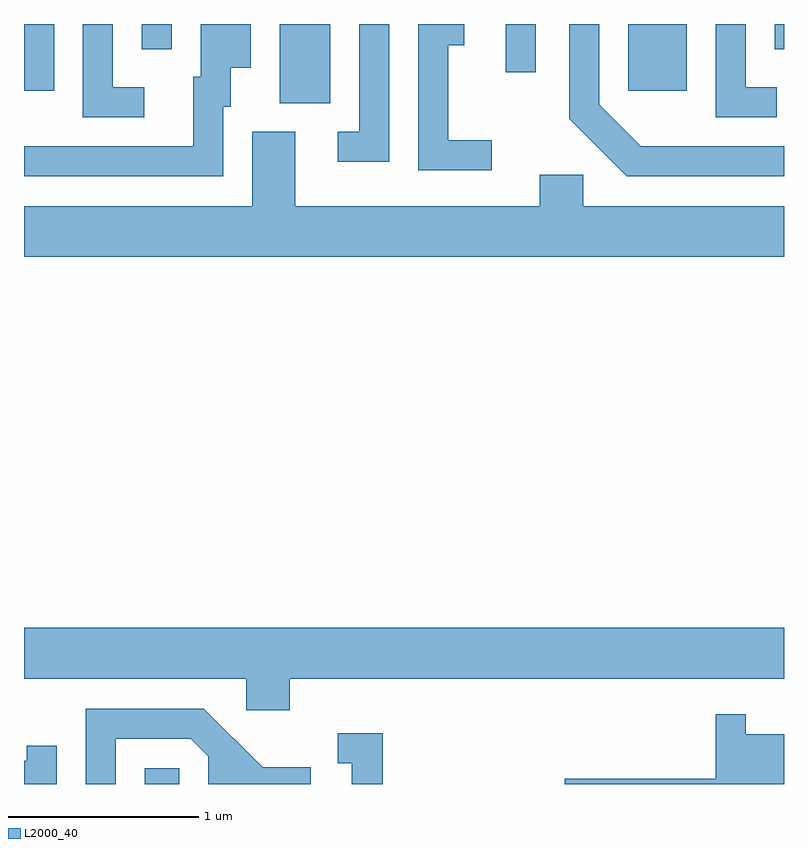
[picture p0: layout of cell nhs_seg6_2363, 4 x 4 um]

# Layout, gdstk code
import gdstk
lib = gdstk.Library(unit=1e-6, precision=1e-09)
def R(c, l, rs):  # rectangles x0, y0, x1, y1
    for r in rs: c.add(gdstk.rectangle(r[:2], r[2:], *l))
def P(c, l, *ps):  # polygons
    for p in ps: c.add(gdstk.Polygon(p, *l))
L2000_40 = (2000, 40)

nhs_seg6_2363 = lib.new_cell('nhs_seg6_2363')
R(nhs_seg6_2363, L2000_40, [(258.246,1536.162,258.429,1536.244), (258.956,1539.746,259.224,1540.162), (257.611,1539.811,257.769,1540.162), (260.791,1539.811,261.099,1540.162), (260.146,1539.908,260.304,1540.162), (258.231,1540.028,258.389,1540.162), (261.561,1540.028,261.611,1540.162)])
P(nhs_seg6_2363, L2000_40, [(258.243,1539.829),(258.079,1539.829),(258.079,1540.162),(257.921,1540.162),(257.921,1539.671),(258.243,1539.671)],
  [(260.073,1539.549),(259.844,1539.549),(259.844,1540.051),(259.929,1540.051),(259.929,1540.162),(259.686,1540.162),(259.686,1539.391),(260.073,1539.391)],
  [(258.659,1539.726),(258.699,1539.726),(258.699,1539.931),(258.804,1539.931),(258.804,1540.162),(258.541,1540.162),(258.541,1539.884),(258.501,1539.884),(258.501,1539.519),(257.611,1539.519),(257.611,1539.361),(258.659,1539.361)],
  [(261.573,1539.829),(261.409,1539.829),(261.409,1540.162),(261.251,1540.162),(261.251,1539.671),(261.573,1539.671)],
  [(259.534,1540.162),(259.376,1540.162),(259.376,1539.594),(259.263,1539.594),(259.263,1539.436),(259.534,1539.436)],
  [(261.611,1539.519),(260.856,1539.519),(260.639,1539.737),(260.639,1540.162),(260.481,1540.162),(260.481,1539.664),(260.784,1539.361),(261.611,1539.361)],
  [(261.611,1539.204),(260.554,1539.204),(260.554,1539.369),(260.326,1539.369),(260.326,1539.204),(259.039,1539.204),(259.039,1539.594),(258.811,1539.594),(258.811,1539.204),(257.611,1539.204),(257.611,1538.936),(261.611,1538.936)],
  [(259.009,1536.716),(261.611,1536.716),(261.611,1536.984),(257.611,1536.984),(257.611,1536.716),(258.781,1536.716),(258.781,1536.551),(259.009,1536.551)],
  [(258.094,1536.401),(258.489,1536.401),(258.581,1536.309),(258.581,1536.162),(259.119,1536.162),(259.119,1536.249),(258.867,1536.249),(258.557,1536.559),(257.936,1536.559),(257.936,1536.162),(258.094,1536.162)],
  [(261.611,1536.424),(261.409,1536.424),(261.409,1536.528),(261.251,1536.528),(261.251,1536.189),(260.456,1536.189),(260.456,1536.162),(261.611,1536.162)],
  [(259.499,1536.429),(259.263,1536.429),(259.263,1536.271),(259.336,1536.271),(259.336,1536.162),(259.499,1536.162)],
  [(257.784,1536.363),(257.626,1536.363),(257.626,1536.284),(257.611,1536.284),(257.611,1536.162),(257.784,1536.162)])

lib.write_gds('nhs_seg6_2363.gds')
